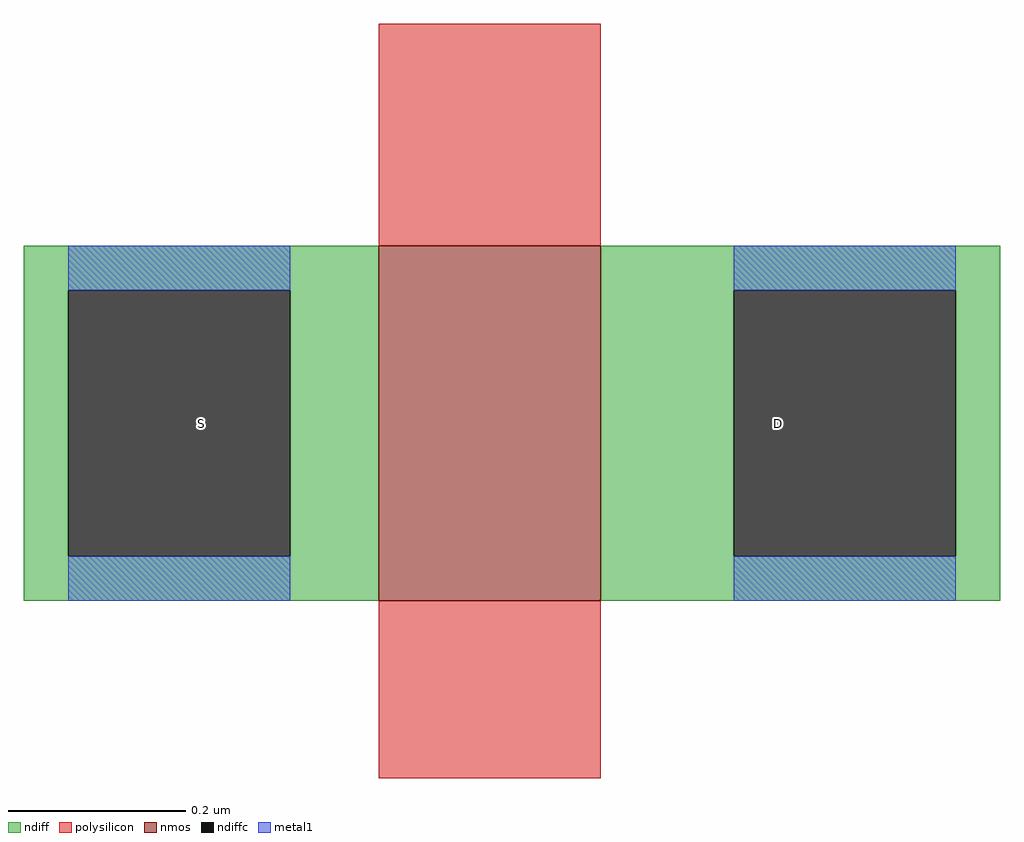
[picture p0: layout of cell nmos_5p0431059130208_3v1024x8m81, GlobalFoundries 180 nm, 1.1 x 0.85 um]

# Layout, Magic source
magic
tech gf180mcuD
<< nmos >>
rect 0 0 5 8
<< ndiff >>
rect -8 7 0 8
rect -8 1 -7 7
rect -2 1 0 7
rect -8 0 0 1
rect 5 7 14 8
rect 5 1 8 7
rect 13 1 14 7
rect 5 0 14 1
<< ndiffc >>
rect -7 1 -2 7
rect 8 1 13 7
<< polysilicon >>
rect 0 8 5 13
rect 0 -4 5 0
<< metal1 >>
rect -7 7 -2 8
rect -7 0 -2 1
rect 8 7 13 8
rect 8 0 13 1
<< labels >>
flabel ndiffc -4 4 -4 4 0 FreeSans 9 0 0 0 S
flabel ndiffc 9 4 9 4 0 FreeSans 9 0 0 0 D
<< end >>
